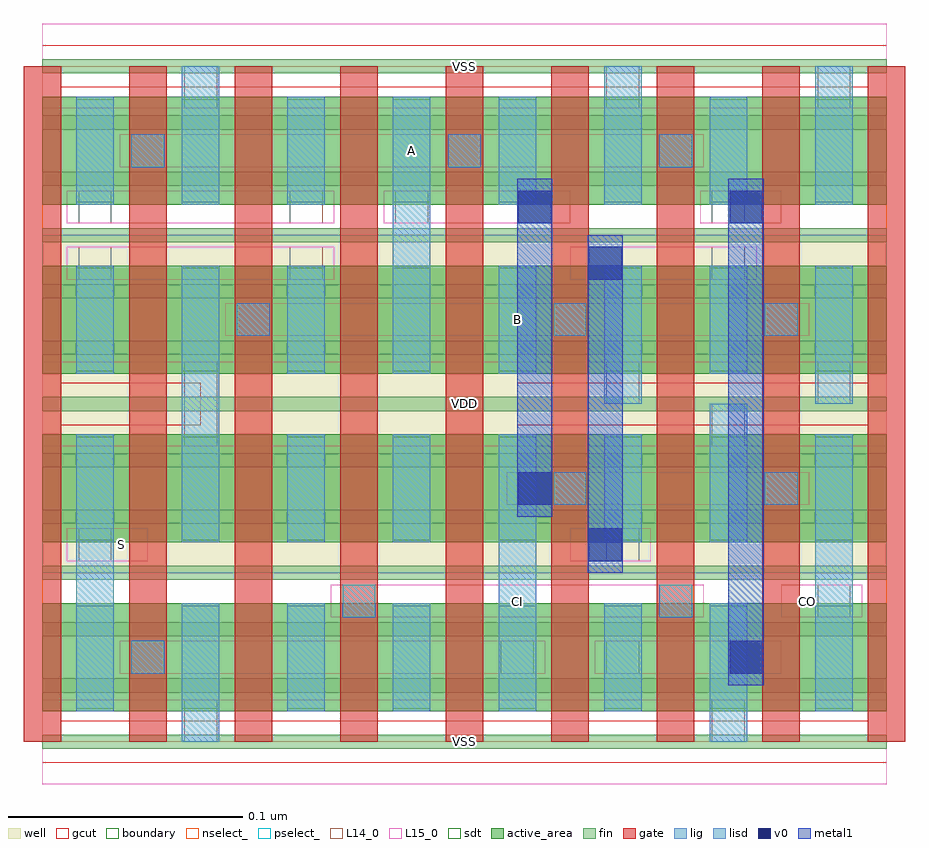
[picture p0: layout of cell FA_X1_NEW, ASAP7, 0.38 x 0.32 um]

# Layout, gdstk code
import gdstk
lib = gdstk.Library(unit=1e-6, precision=2.5e-10)
def R(c, l, rs):  # rectangles x0, y0, x1, y1
    for r in rs: c.add(gdstk.rectangle(r[:2], r[2:], *l))
def A(c, l, x, y, w, h, nx, ny, dx, dy):  # array of equal rectangles
    R(c, l, [(x+i*dx, y+j*dy, x+i*dx+w, y+j*dy+h) for i in range(nx) for j in range(ny)])
def P(c, l, *ps):  # polygons
    for p in ps: c.add(gdstk.Polygon(p, *l))
well = (1, 0)
fin = (2, 0)
gate = (7, 0)
gcut = (10, 0)
active_area = (11, 0)
nselect_ = (12, 0)
pselect_ = (13, 0)
L14_0 = (14, 0)
L15_0 = (15, 0)
lig = (16, 0)
lisd = (17, 0)
v0 = (18, 0)
metal1 = (19, 0)
sdt = (88, 0)
boundary = (100, 0)

fa_x1_new = lib.new_cell('FA_X1_NEW')
R(fa_x1_new, well, [(0,0.072,0.36,0.144), (0,0.144,0.36,0.216)])
A(fa_x1_new, fin, 0, -0.003, 0.36, 0.006, 1, 13, 0, 0.024)
A(fa_x1_new, gate, -0.008, 0, 0.016, 0.288, 9, 1, 0.045, 0)
P(fa_x1_new, gcut, [(0,-0.009),(0,0),(-0.008,0),(-0.008,0.279),(0.008,0.279),(0.008,0.153),(0.0675,0.153),(0.0675,0.135),(0.008,0.135),(0.008,0.009),(0.352,0.009),(0.352,0.135),(0.2025,0.135),(0.2025,0.153),(0.352,0.153),(0.352,0.279),(-0.008,0.279),(-0.008,0.288),(0,0.288),(0,0.297),(0.36,0.297),(0.36,0.288),(0.368,0.288),(0.368,0),(0.36,0),(0.36,-0.009)])
A(fa_x1_new, active_area, 0, 0.013, 0.36, 0.046, 1, 4, 0, 0.072)
R(fa_x1_new, nselect_, [(0,0,0.36,0.072), (0,0.216,0.36,0.288)])
R(fa_x1_new, pselect_, [(0,0.072,0.36,0.144), (0,0.144,0.36,0.216)])
R(fa_x1_new, L14_0, [(0.0605,0,0.0745,0.018), (0.2855,0,0.2995,0.018), (0.038,0.029,0.052,0.043), (0.1955,0.029,0.2095,0.043), (0.2405,0.029,0.2545,0.043), (0.128,0.053,0.142,0.067), (0.263,0.053,0.277,0.067), (0.3305,0.053,0.3445,0.067), (0.0155,0.077,0.0295,0.091), (0.2405,0.077,0.2545,0.091), (0.218,0.101,0.232,0.115), (0.308,0.101,0.322,0.115), (0.0605,0.126,0.0745,0.144), (0.2855,0.126,0.2995,0.144), (0.0605,0.144,0.0745,0.162), (0.2405,0.144,0.2545,0.162), (0.3305,0.144,0.3445,0.162), (0.083,0.173,0.097,0.187), (0.218,0.173,0.232,0.187), (0.308,0.173,0.322,0.187), (0.0155,0.197,0.0295,0.211), (0.1055,0.197,0.1195,0.211), (0.2855,0.197,0.2995,0.211), (0.0155,0.221,0.0295,0.235), (0.1055,0.221,0.1195,0.235), (0.1505,0.221,0.1645,0.235), (0.2855,0.221,0.2995,0.235), (0.038,0.245,0.052,0.259), (0.173,0.245,0.187,0.259), (0.263,0.245,0.277,0.259), (0.0605,0.27,0.0745,0.288), (0.2405,0.27,0.2545,0.288), (0.3305,0.27,0.3445,0.288)])
A(fa_x1_new, L15_0, 0, -0.018, 0.36, 0.036, 1, 3, 0, 0.144)
R(fa_x1_new, L15_0, [(0.033,0.029,0.2145,0.043), (0.2355,0.029,0.315,0.043), (0.123,0.053,0.282,0.067), (0.315,0.053,0.3495,0.067), (0.0105,0.077,0.045,0.091), (0.225,0.077,0.2595,0.091), (0.198,0.101,0.327,0.115), (0.078,0.173,0.327,0.187), (0.0105,0.197,0.1245,0.211), (0.225,0.197,0.3045,0.211), (0.0105,0.221,0.1245,0.235), (0.1455,0.221,0.225,0.235), (0.2805,0.221,0.315,0.235), (0.033,0.245,0.282,0.259)])
R(fa_x1_new, lig, [(0.038,0.029,0.052,0.043), (0.128,0.053,0.142,0.067), (0.263,0.053,0.277,0.067), (0.218,0.101,0.232,0.115), (0.308,0.101,0.322,0.115), (0.083,0.173,0.097,0.187), (0.218,0.173,0.232,0.187), (0.308,0.173,0.322,0.187), (0.038,0.245,0.052,0.259), (0.173,0.245,0.187,0.259), (0.263,0.245,0.277,0.259)])
A(fa_x1_new, lisd, 0.0145, 0.157, 0.016, 0.046, 4, 2, 0.09, 0.072)
R(fa_x1_new, lisd, [(0.0595,0,0.0755,0.059), (0.2845,0,0.3005,0.059), (0.0145,0.013,0.0305,0.131), (0.1045,0.013,0.1205,0.059), (0.1495,0.013,0.1655,0.059), (0.1945,0.013,0.2105,0.131), (0.2395,0.013,0.2555,0.059), (0.3295,0.013,0.3455,0.131), (0.0595,0.085,0.0755,0.203), (0.1045,0.085,0.1205,0.131), (0.1495,0.085,0.1655,0.131), (0.2395,0.085,0.2555,0.131), (0.2845,0.085,0.3005,0.144), (0.2395,0.144,0.2555,0.203), (0.3295,0.144,0.3455,0.203), (0.1495,0.157,0.1655,0.275), (0.0595,0.229,0.0755,0.288), (0.2395,0.229,0.2555,0.288), (0.3295,0.229,0.3455,0.288)])
R(fa_x1_new, v0, [(0.293,0.029,0.307,0.043), (0.233,0.077,0.247,0.091), (0.203,0.101,0.217,0.115), (0.233,0.197,0.247,0.211), (0.203,0.221,0.217,0.235), (0.293,0.221,0.307,0.235)])
R(fa_x1_new, metal1, [(0.2925,0.024,0.3075,0.24), (0.2325,0.072,0.2475,0.216), (0.2025,0.096,0.2175,0.24)])
A(fa_x1_new, sdt, 0.0145, 0.014, 0.016, 0.044, 8, 4, 0.045, 0.072)
R(fa_x1_new, boundary, [(0,0,0.36,0.288)])
fa_x1_new.add(gdstk.Label('B', (0.2025,0.18), layer=15, texttype=251))
fa_x1_new.add(gdstk.Label('VSS', (0.18,0), layer=15, texttype=251))
fa_x1_new.add(gdstk.Label('VDD', (0.18,0.144), layer=15, texttype=251))
fa_x1_new.add(gdstk.Label('VDD', (0.18,0.144), layer=15, texttype=251))
fa_x1_new.add(gdstk.Label('VSS', (0.18,0.288), layer=15, texttype=251))
fa_x1_new.add(gdstk.Label('CO', (0.3262,0.06), layer=15, texttype=251))
fa_x1_new.add(gdstk.Label('VSS', (0.18,0), layer=15, texttype=251))
fa_x1_new.add(gdstk.Label('VDD', (0.18,0.144), layer=15, texttype=251))
fa_x1_new.add(gdstk.Label('VDD', (0.18,0.144), layer=15, texttype=251))
fa_x1_new.add(gdstk.Label('VSS', (0.18,0.288), layer=15, texttype=251))
fa_x1_new.add(gdstk.Label('VSS', (0.18,0), layer=15, texttype=251))
fa_x1_new.add(gdstk.Label('VDD', (0.18,0.144), layer=15, texttype=251))
fa_x1_new.add(gdstk.Label('VDD', (0.18,0.144), layer=15, texttype=251))
fa_x1_new.add(gdstk.Label('VSS', (0.18,0.288), layer=15, texttype=251))
fa_x1_new.add(gdstk.Label('VSS', (0.18,0), layer=15, texttype=251))
fa_x1_new.add(gdstk.Label('VDD', (0.18,0.144), layer=15, texttype=251))
fa_x1_new.add(gdstk.Label('VDD', (0.18,0.144), layer=15, texttype=251))
fa_x1_new.add(gdstk.Label('VSS', (0.18,0.288), layer=15, texttype=251))
fa_x1_new.add(gdstk.Label('A', (0.1575,0.252), layer=15, texttype=251))
fa_x1_new.add(gdstk.Label('VSS', (0.18,0), layer=15, texttype=251))
fa_x1_new.add(gdstk.Label('VDD', (0.18,0.144), layer=15, texttype=251))
fa_x1_new.add(gdstk.Label('VDD', (0.18,0.144), layer=15, texttype=251))
fa_x1_new.add(gdstk.Label('VSS', (0.18,0.288), layer=15, texttype=251))
fa_x1_new.add(gdstk.Label('S', (0.0338,0.084), layer=15, texttype=251))
fa_x1_new.add(gdstk.Label('VSS', (0.18,0), layer=15, texttype=251))
fa_x1_new.add(gdstk.Label('VDD', (0.18,0.144), layer=15, texttype=251))
fa_x1_new.add(gdstk.Label('VDD', (0.18,0.144), layer=15, texttype=251))
fa_x1_new.add(gdstk.Label('VSS', (0.18,0.288), layer=15, texttype=251))
fa_x1_new.add(gdstk.Label('CI', (0.2025,0.06), layer=15, texttype=251))
fa_x1_new.add(gdstk.Label('VSS', (0.18,0), layer=15, texttype=251))
fa_x1_new.add(gdstk.Label('VDD', (0.18,0.144), layer=15, texttype=251))
fa_x1_new.add(gdstk.Label('VDD', (0.18,0.144), layer=15, texttype=251))
fa_x1_new.add(gdstk.Label('VSS', (0.18,0.288), layer=15, texttype=251))
fa_x1_new.add(gdstk.Label('VSS', (0.18,0), layer=3, texttype=251))
fa_x1_new.add(gdstk.Label('VSS', (0.18,0.288), layer=3, texttype=251))
fa_x1_new.add(gdstk.Label('VSS', (0.18,0), layer=3, texttype=251))
fa_x1_new.add(gdstk.Label('VSS', (0.18,0.288), layer=3, texttype=251))
fa_x1_new.add(gdstk.Label('VSS', (0.18,0), layer=3, texttype=251))
fa_x1_new.add(gdstk.Label('VSS', (0.18,0.288), layer=3, texttype=251))
fa_x1_new.add(gdstk.Label('VSS', (0.18,0), layer=3, texttype=251))
fa_x1_new.add(gdstk.Label('VSS', (0.18,0.288), layer=3, texttype=251))
fa_x1_new.add(gdstk.Label('VSS', (0.18,0), layer=3, texttype=251))
fa_x1_new.add(gdstk.Label('VSS', (0.18,0.288), layer=3, texttype=251))
fa_x1_new.add(gdstk.Label('VSS', (0.18,0), layer=3, texttype=251))
fa_x1_new.add(gdstk.Label('VSS', (0.18,0.288), layer=3, texttype=251))
fa_x1_new.add(gdstk.Label('VSS', (0.18,0), layer=3, texttype=251))
fa_x1_new.add(gdstk.Label('VSS', (0.18,0.288), layer=3, texttype=251))
fa_x1_new.add(gdstk.Label('VDD', (0.18,0.144), layer=1, texttype=251))
fa_x1_new.add(gdstk.Label('VDD', (0.18,0.144), layer=1, texttype=251))
fa_x1_new.add(gdstk.Label('VDD', (0.18,0.144), layer=1, texttype=251))
fa_x1_new.add(gdstk.Label('VDD', (0.18,0.144), layer=1, texttype=251))
fa_x1_new.add(gdstk.Label('VDD', (0.18,0.144), layer=1, texttype=251))
fa_x1_new.add(gdstk.Label('VDD', (0.18,0.144), layer=1, texttype=251))
fa_x1_new.add(gdstk.Label('VDD', (0.18,0.144), layer=1, texttype=251))
fa_x1_new.add(gdstk.Label('VDD', (0.18,0.144), layer=1, texttype=251))
fa_x1_new.add(gdstk.Label('VDD', (0.18,0.144), layer=1, texttype=251))
fa_x1_new.add(gdstk.Label('VDD', (0.18,0.144), layer=1, texttype=251))
fa_x1_new.add(gdstk.Label('VDD', (0.18,0.144), layer=1, texttype=251))
fa_x1_new.add(gdstk.Label('VDD', (0.18,0.144), layer=1, texttype=251))
fa_x1_new.add(gdstk.Label('VDD', (0.18,0.144), layer=1, texttype=251))
fa_x1_new.add(gdstk.Label('VDD', (0.18,0.144), layer=1, texttype=251))

lib.write_gds('FA_X1_NEW.gds')
